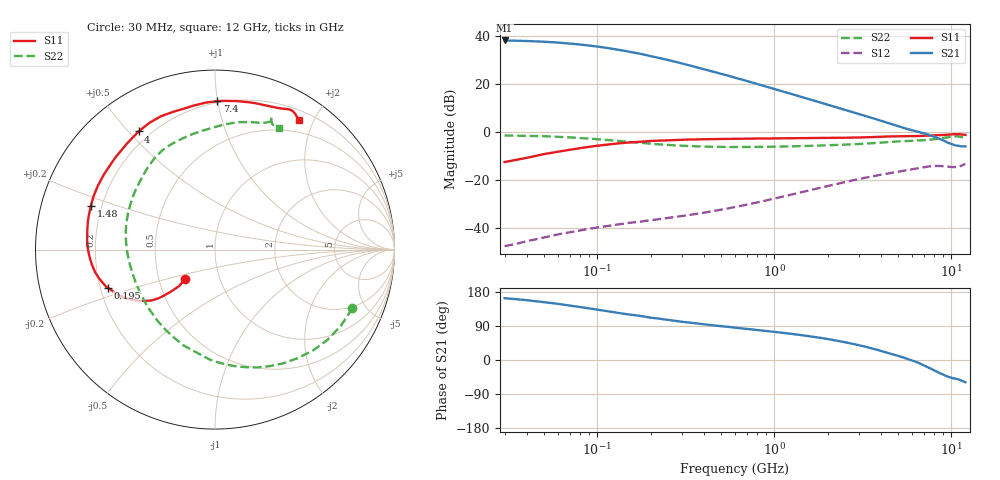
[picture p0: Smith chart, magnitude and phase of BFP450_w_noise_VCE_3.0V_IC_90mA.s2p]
! (c) 2015  Infineon Technologies AG, Munich
! Infineon Technologies  Discrete & RF Semiconductors
! BFP450
! VCE =  3.0 V,  IC =  90 mA
! Common Emitter S-Parameters:  Nov 2015
# GHz  S  MA  R  50
!  f  S11  S21  S12  S22
! GHz  MAG  ANG  MAG  ANG  MAG  ANG  MAG  ANG
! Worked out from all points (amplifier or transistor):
!   239 points, 30 MHz to 12 GHz, reference 50 ohm
!   highest |S21| = 38.0 dB at 30 MHz (marker M1)
!   |S21| within 3 dB of that: start of sweep to 110.9 MHz
!   unconditionally stable (mu >= 1): 945.1 MHz to end of sweep
!   at 300 MHz: K = 0.69, MSG = 31.8 dB, |S12| = -35.2 dB
!   at 1.88 GHz: K = 1.09, MAG = 15.7 dB, |S12| = -23.1 dB
!   at 12 GHz: K = 1.08, MAG = 1.9 dB, |S12| = -13.5 dB
!   lowest NFmin = 2.02 dB at 450 MHz
!   S11 on the Smith chart (normalised r, x): 30 MHz: 0.68, -0.23; 195 MHz: 0.23, -0.16; 1.48 GHz: 0.16, +0.17; 4 GHz: 0.16, +0.53; 7.4 GHz: 0.19, +1.00; 12 GHz: 0.32, +1.79
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0.03  0.2325 -135.6  79.6 163.0  0.0041 80.3  0.832 -23.2
0.04  0.2844 -134.5  77.51 157.8  0.0052 75.5  0.82 -31.1
0.05  0.3401 -136.4  74.98 152.6  0.0062 70.6  0.8033 -38.8
0.06  0.3828 -138.0  71.84 148.2  0.0072 68.3  0.7832 -45.9
0.07  0.419 -139.4  68.64 143.5  0.008 65.7  0.7604 -52.7
0.085  0.469 -142.6  63.94 138.0  0.0091 62.7  0.727 -61.9
0.11  0.5295 -147.8  56.6 129.9  0.0106 59.0  0.6772 -75.4
0.13  0.5664 -151.4  51.31 124.7  0.0116 56.9  0.6428 -84.6
0.15  0.5932 -154.7  46.71 120.2  0.0125 55.2  0.6141 -92.6
0.195  0.6345 -160.4  38.37 112.6  0.014 53.9  0.5647 -106.8
0.24  0.6584 -164.7  32.39 107.1  0.0156 53.8  0.5339 -117.8
0.3  0.6789 -169.1  26.39 101.0  0.0174 54.5  0.5091 -129.3
0.36  0.6894 -172.6  22.26 96.8  0.0192 55.5  0.4946 -137.6
0.45  0.6998 -176.5  17.84 91.5  0.022 57.0  0.4834 -147.3
0.6  0.7103 178.6  13.31 85.2  0.0268 58.9  0.478 -158.2
0.9  0.7202 171.4  8.672 76.5  0.0368 60.1  0.4829 -171.7
1.48  0.7336 160.5  5.067 64.5  0.0564 57.3  0.5017 172.0
1.64  0.7366 157.8  4.538 61.6  0.0617 55.9  0.5072 168.5
4  0.7837 122.9  1.682 23.8  0.1266 29.4  0.5914 129.3
4.5  0.7951 117.4  1.463 17.2  0.1363 24.4  0.611 123.4
7.4  0.8269 89.2  0.866 -19.6  0.1871 -6.3  0.6729 93.3
12  0.8598 57.2  0.494 -58.6  0.2118 -40.7  0.7647 62.3
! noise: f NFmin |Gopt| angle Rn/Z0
0.45  2.02  0.62  -172  0.07
0.9  2.06  0.65  -166  0.08
1.9  2.17  0.67  -150  0.14
2.4  2.26  0.67  -140  0.21
